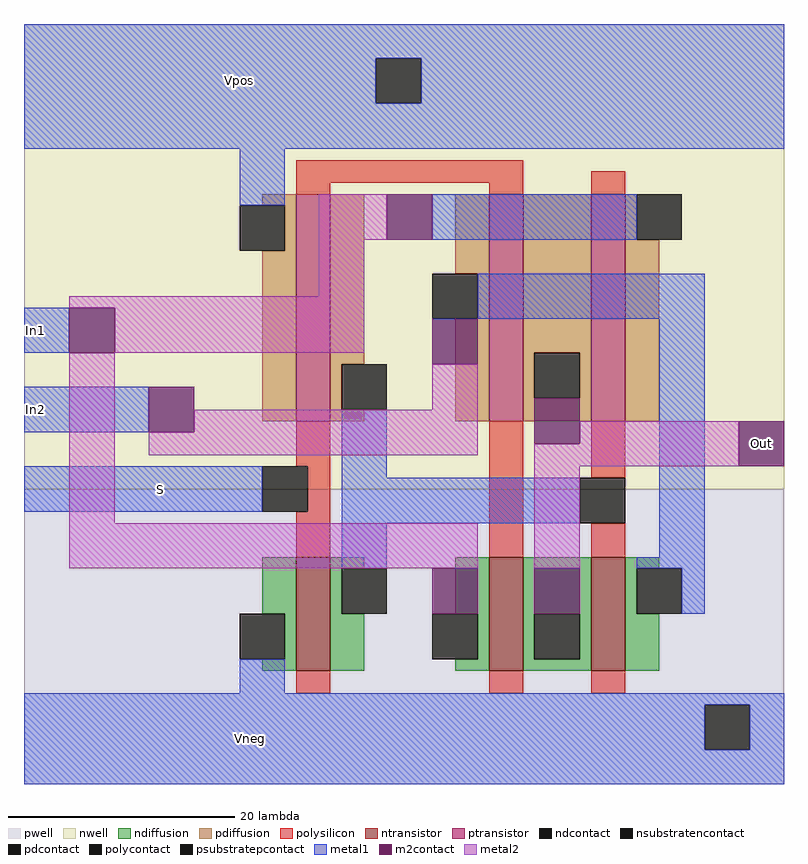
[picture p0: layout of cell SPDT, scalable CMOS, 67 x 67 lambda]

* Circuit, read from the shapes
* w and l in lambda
.subckt SPDT In1 In2 Out S Vneg Vpos
M1 n1 S Vneg Vneg nfet w=10 l=3
M2 Out S In1 Vneg nfet w=10 l=3
M3 In2 n1 Out Vneg nfet w=10 l=3
M4 n1 S Vpos Vpos pfet w=20 l=3
M5 Out S In2 Vpos pfet w=20 l=3
M6 In1 n1 Out Vpos pfet w=20 l=3
.ends

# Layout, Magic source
magic
tech scmos
<< nwell >>
rect 38 27 105 68
<< pwell >>
rect 38 1 105 27
<< ntransistor >>
rect 62 11 65 21
rect 79 11 82 21
rect 88 11 91 21
<< ptransistor >>
rect 62 33 65 53
rect 79 33 82 53
rect 88 33 91 53
<< ndiffusion >>
rect 59 16 62 21
rect 61 12 62 16
rect 59 11 62 12
rect 65 20 68 21
rect 65 16 66 20
rect 76 16 79 21
rect 65 11 68 16
rect 78 12 79 16
rect 76 11 79 12
rect 82 16 88 21
rect 82 12 83 16
rect 87 12 88 16
rect 82 11 88 12
rect 91 20 94 21
rect 91 16 92 20
rect 91 11 94 16
<< pdiffusion >>
rect 59 52 62 53
rect 61 48 62 52
rect 59 33 62 48
rect 65 38 68 53
rect 76 46 79 53
rect 78 42 79 46
rect 65 34 66 38
rect 65 33 68 34
rect 76 33 79 42
rect 82 39 88 53
rect 82 35 83 39
rect 87 35 88 39
rect 82 33 88 35
rect 91 49 92 53
rect 91 33 94 49
<< ndcontact >>
rect 57 12 61 16
rect 66 16 70 20
rect 74 12 78 16
rect 83 12 87 16
rect 92 16 96 20
<< pdcontact >>
rect 57 48 61 52
rect 74 42 78 46
rect 66 34 70 38
rect 83 35 87 39
rect 92 49 96 53
<< psubstratepcontact >>
rect 98 4 102 8
<< nsubstratencontact >>
rect 69 61 73 65
<< polysilicon >>
rect 62 54 82 56
rect 62 53 65 54
rect 79 53 82 54
rect 88 53 91 55
rect 62 29 65 33
rect 63 25 65 29
rect 62 21 65 25
rect 79 21 82 33
rect 88 28 91 33
rect 88 21 91 24
rect 62 9 65 11
rect 79 9 82 11
rect 88 9 91 11
<< polycontact >>
rect 59 25 63 29
rect 87 24 91 28
<< metal1 >>
rect 38 65 105 68
rect 38 61 69 65
rect 73 61 105 65
rect 38 57 105 61
rect 57 52 61 57
rect 74 49 92 53
rect 38 39 42 43
rect 78 42 98 46
rect 38 32 49 36
rect 38 25 59 29
rect 66 28 70 34
rect 66 24 87 28
rect 66 20 70 24
rect 94 21 98 42
rect 92 20 98 21
rect 96 16 98 20
rect 57 9 61 12
rect 38 8 105 9
rect 38 4 98 8
rect 102 4 105 8
rect 38 1 105 4
<< m2contact >>
rect 70 49 74 53
rect 42 39 46 43
rect 74 38 78 42
rect 49 32 53 36
rect 83 31 87 35
rect 101 29 105 33
rect 74 16 78 20
rect 83 16 87 20
<< metal2 >>
rect 64 49 70 53
rect 64 44 68 49
rect 42 43 68 44
rect 46 39 68 43
rect 42 24 46 39
rect 74 34 78 38
rect 53 32 78 34
rect 49 30 78 32
rect 87 31 101 33
rect 83 29 101 31
rect 42 20 78 24
rect 83 20 87 29
<< labels >>
rlabel m2contact 103 31 103 31 7 Out
rlabel metal1 50 27 50 27 1 S
rlabel metal1 39 41 39 41 3 In1
rlabel metal1 39 34 39 34 3 In2
rlabel metal1 57 63 57 63 5 Vpos
rlabel metal1 58 5 58 5 1 Vneg
<< end >>
